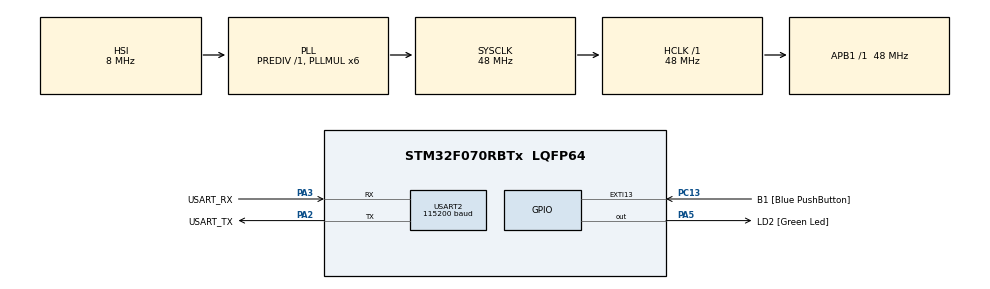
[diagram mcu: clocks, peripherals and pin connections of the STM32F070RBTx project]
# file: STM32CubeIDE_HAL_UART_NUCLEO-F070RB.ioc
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Dma.Request0=USART2_TX
Dma.USART2_TX.0.Direction=DMA_MEMORY_TO_PERIPH
Dma.USART2_TX.0.Instance=DMA1_Channel4
Dma.USART2_TX.0.MemDataAlignment=DMA_MDATAALIGN_BYTE
Dma.USART2_TX.0.MemInc=DMA_MINC_ENABLE
Dma.USART2_TX.0.Mode=DMA_NORMAL
Dma.USART2_TX.0.PeriphDataAlignment=DMA_PDATAALIGN_BYTE
Dma.USART2_TX.0.PeriphInc=DMA_PINC_DISABLE
Dma.USART2_TX.0.Priority=DMA_PRIORITY_LOW
Mcu.Family=STM32F0
Mcu.Name=STM32F070RBTx
Mcu.Package=LQFP64
NVIC.DMA1_Channel4_5_IRQn=true\:0\:0\:false\:false\:true\:false\:true
NVIC.USART2_IRQn=true\:0\:0\:false\:false\:true\:true\:true
PA13.GPIO_Label=TMS
PA13.Mode=Serial_Wire
PA13.Signal=SYS_SWDIO
PA14.GPIO_Label=TCK
PA14.Mode=Serial_Wire
PA14.Signal=SYS_SWCLK
PA2.GPIO_Label=USART_TX
PA2.Mode=Asynchronous
PA2.Signal=USART2_TX
PA3.GPIO_Label=USART_RX
PA3.Mode=Asynchronous
PA3.Signal=USART2_RX
PA5.GPIO_Label=LD2 [Green Led]
PA5.Signal=GPIO_Output
PC13.GPIO_Label=B1 [Blue PushButton]
PC13.GPIO_ModeDefaultEXTI=GPIO_MODE_IT_FALLING
PC13.Signal=GPXTI13
PC14-OSC32_IN.GPIO_Label=RCC_OSC32_IN
PC14-OSC32_IN.Mode=LSE-External-Oscillator
PC14-OSC32_IN.Signal=RCC_OSC32_IN
PC15-OSC32_OUT.GPIO_Label=RCC_OSC32_OUT
PC15-OSC32_OUT.Mode=LSE-External-Oscillator
PC15-OSC32_OUT.Signal=RCC_OSC32_OUT
PF0-OSC_IN.GPIO_Label=RCC_OSC_IN
PF0-OSC_IN.Mode=HSE-External-Clock-Source
PF0-OSC_IN.Signal=RCC_OSC_IN
PF1-OSC_OUT.GPIO_Label=RCC_OSC_OUT
PF1-OSC_OUT.Signal=RCC_OSC_OUT
ProjectManager.HeapSize=0x200
ProjectManager.StackSize=0x400
ProjectManager.TargetToolchain=STM32CubeIDE
RCC.AHBFreq_Value=48000000
RCC.APB1Freq_Value=48000000
RCC.APB1TimFreq_Value=48000000
RCC.HCLKFreq_Value=48000000
RCC.PLLMUL=RCC_PLL_MUL6
RCC.SYSCLKFreq_VALUE=48000000
RCC.SYSCLKSource=RCC_SYSCLKSOURCE_PLLCLK
USART2.BaudRate=115200
USART2.VirtualMode-Asynchronous=VM_ASYNC
board=NUCLEO-F070RB

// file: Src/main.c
/* USER CODE BEGIN Header */
/**
  ******************************************************************************
  * @file           : main.c
  * @brief          : Main program body
  ******************************************************************************
  * @attention
  *
  * <h2><center>&copy; Copyright (c) 2020 STMicroelectronics.
  * All rights reserved.</center></h2>
  *
  * This software component is licensed by ST under BSD 3-Clause license,
  * the "License"; You may not use this file except in compliance with the
  * License. You may obtain a copy of the License at:
  *                        opensource.org/licenses/BSD-3-Clause
  *
  ******************************************************************************
  */
/* USER CODE END Header */

#include "main.h"

/* USER CODE BEGIN Includes */
#include "trice.h"
/* USER CODE END Includes */

UART_HandleTypeDef huart2;
DMA_HandleTypeDef hdma_usart2_tx;

void SystemClock_Config(void);
static void MX_GPIO_Init(void);
static void MX_DMA_Init(void);
static void MX_USART2_UART_Init(void);

int main(void)
{
  /* USER CODE BEGIN 1 */
#ifdef ENCRYPT
    InitXteaTable();
#endif
  /* USER CODE END 1 */

  /* MCU Configuration--------------------------------------------------------*/

  /* Reset of all peripherals, Initializes the Flash interface and the Systick. */
  HAL_Init();

  /* Configure the system clock */
  SystemClock_Config();

  /* Initialize all configured peripherals */
  MX_GPIO_Init();
  MX_DMA_Init();
  MX_USART2_UART_Init();

  /* Infinite loop */
  /* USER CODE BEGIN WHILE */
  TRICE16_1( Id(14522), "tim:timing      message, SysTick is %6d\n", SYSTICKVAL16 );
  TRICE0( Id(46050), "att:STM32CubeIDE_HAL_UART_NUCLEO-F070RB\n" );
  TRICE16_1( Id(14522), "tim:timing      message, SysTick is %6d\n", SYSTICKVAL16 );
  TRICE16_1( Id(14522), "tim:timing      message, SysTick is %6d\n", SYSTICKVAL16 );
  TRICE16_1( Id(14522), "tim:timing      message, SysTick is %6d\n", SYSTICKVAL16 );
  TRICE16_1( Id(14522), "tim:timing      message, SysTick is %6d\n", SYSTICKVAL16 );
  while (1)
  {
      //////////////////////////////////////////////////
      // demo trices
      //
      static uint32_t ms_1 = 0;
      uint32_t ms = HAL_GetTick();
      if( ms >= ms_1 + 1000 ){ // every sec
          static int index = 0;
          triceCheckSet(index++%20);
          TRICE32_1( Id(25382), "time:ms = %d\n", ms );
          HAL_GPIO_TogglePin(LD2_GPIO_Port, LD2_Pin);
          ms_1 = ms;
      }
      //
      //////////////////////////////////////////////////

      //////////////////////////////////////////////////
      // needed background activity
      //
      triceServe();
      //
      //////////////////////////////////////////////////
    /* USER CODE END WHILE */

  }
}

void SystemClock_Config(void)
{
  RCC_OscInitTypeDef RCC_OscInitStruct = {0};
  RCC_ClkInitTypeDef RCC_ClkInitStruct = {0};

  /** Initializes the CPU, AHB and APB busses clocks
  */
  RCC_OscInitStruct.OscillatorType = RCC_OSCILLATORTYPE_HSI;
  RCC_OscInitStruct.HSIState = RCC_HSI_ON;
  RCC_OscInitStruct.HSICalibrationValue = RCC_HSICALIBRATION_DEFAULT;
  RCC_OscInitStruct.PLL.PLLState = RCC_PLL_ON;
  RCC_OscInitStruct.PLL.PLLSource = RCC_PLLSOURCE_HSI;
  RCC_OscInitStruct.PLL.PLLMUL = RCC_PLL_MUL6;
  RCC_OscInitStruct.PLL.PREDIV = RCC_PREDIV_DIV1;
  if (HAL_RCC_OscConfig(&RCC_OscInitStruct) != HAL_OK)
  {
    Error_Handler();
  }
  /** Initializes the CPU, AHB and APB busses clocks
  */
  RCC_ClkInitStruct.ClockType = RCC_CLOCKTYPE_HCLK|RCC_CLOCKTYPE_SYSCLK
                              |RCC_CLOCKTYPE_PCLK1;
  RCC_ClkInitStruct.SYSCLKSource = RCC_SYSCLKSOURCE_PLLCLK;
  RCC_ClkInitStruct.AHBCLKDivider = RCC_SYSCLK_DIV1;
  RCC_ClkInitStruct.APB1CLKDivider = RCC_HCLK_DIV1;

  if (HAL_RCC_ClockConfig(&RCC_ClkInitStruct, FLASH_LATENCY_1) != HAL_OK)
  {
    Error_Handler();
  }
}

static void MX_USART2_UART_Init(void)
{

  huart2.Instance = USART2;
  huart2.Init.BaudRate = 115200;
  huart2.Init.WordLength = UART_WORDLENGTH_8B;
  huart2.Init.StopBits = UART_STOPBITS_1;
  huart2.Init.Parity = UART_PARITY_NONE;
  huart2.Init.Mode = UART_MODE_TX_RX;
  huart2.Init.HwFlowCtl = UART_HWCONTROL_NONE;
  huart2.Init.OverSampling = UART_OVERSAMPLING_16;
  huart2.Init.OneBitSampling = UART_ONE_BIT_SAMPLE_DISABLE;
  huart2.AdvancedInit.AdvFeatureInit = UART_ADVFEATURE_NO_INIT;
  if (HAL_UART_Init(&huart2) != HAL_OK)
  {
    Error_Handler();
  }

}

static void MX_DMA_Init(void)
{

  /* DMA controller clock enable */
  __HAL_RCC_DMA1_CLK_ENABLE();

  /* DMA interrupt init */
  /* DMA1_Channel4_5_IRQn interrupt configuration */
  HAL_NVIC_SetPriority(DMA1_Channel4_5_IRQn, 0, 0);
  HAL_NVIC_EnableIRQ(DMA1_Channel4_5_IRQn);

}

static void MX_GPIO_Init(void)
{
  GPIO_InitTypeDef GPIO_InitStruct = {0};

  /* GPIO Ports Clock Enable */
  __HAL_RCC_GPIOC_CLK_ENABLE();
  __HAL_RCC_GPIOF_CLK_ENABLE();
  __HAL_RCC_GPIOA_CLK_ENABLE();

  /*Configure GPIO pin Output Level */
  HAL_GPIO_WritePin(LD2_GPIO_Port, LD2_Pin, GPIO_PIN_RESET);

  /*Configure GPIO pin : B1_Pin */
  GPIO_InitStruct.Pin = B1_Pin;
  GPIO_InitStruct.Mode = GPIO_MODE_IT_FALLING;
  GPIO_InitStruct.Pull = GPIO_NOPULL;
  HAL_GPIO_Init(B1_GPIO_Port, &GPIO_InitStruct);

  /*Configure GPIO pin : LD2_Pin */
  GPIO_InitStruct.Pin = LD2_Pin;
  GPIO_InitStruct.Mode = GPIO_MODE_OUTPUT_PP;
  GPIO_InitStruct.Pull = GPIO_NOPULL;
  GPIO_InitStruct.Speed = GPIO_SPEED_FREQ_LOW;
  HAL_GPIO_Init(LD2_GPIO_Port, &GPIO_InitStruct);

}

void Error_Handler(void)
{
}

/************************ (C) COPYRIGHT STMicroelectronics *****END OF FILE****/
